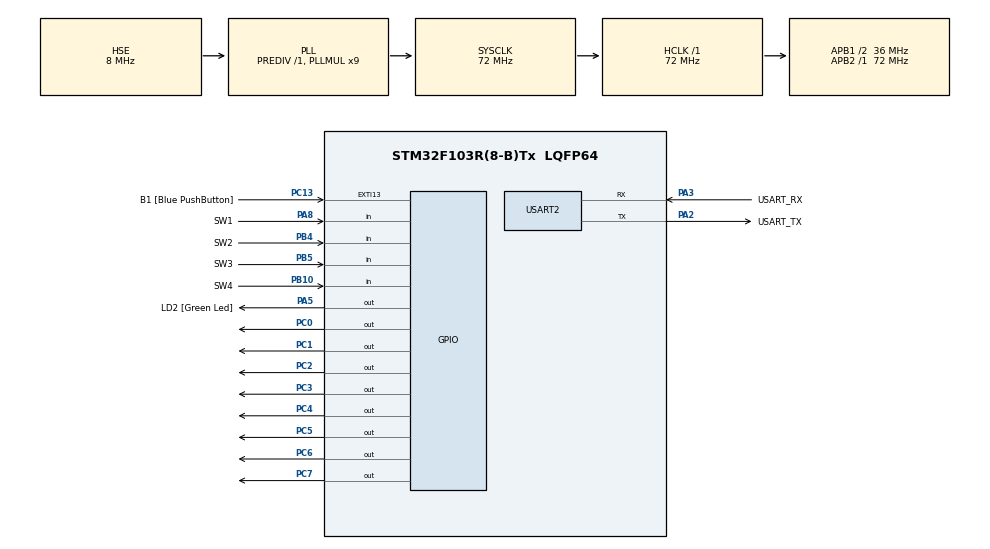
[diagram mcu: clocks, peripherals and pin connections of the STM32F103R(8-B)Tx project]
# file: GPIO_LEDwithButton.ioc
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Mcu.Family=STM32F1
Mcu.Name=STM32F103R(8-B)Tx
Mcu.Package=LQFP64
NVIC.EXTI15_10_IRQn=true\:0\:0\:false\:false\:true\:true\:true\:true
NVIC.PriorityGroup=NVIC_PRIORITYGROUP_4
PA13.GPIO_Label=TMS
PA13.Mode=Serial_Wire
PA13.Signal=SYS_JTMS-SWDIO
PA14.GPIO_Label=TCK
PA14.Mode=Serial_Wire
PA14.Signal=SYS_JTCK-SWCLK
PA2.GPIO_Label=USART_TX
PA2.GPIO_Mode=GPIO_MODE_AF_PP
PA2.GPIO_PuPd=GPIO_NOPULL
PA2.GPIO_Speed=GPIO_SPEED_FREQ_LOW
PA2.Mode=Asynchronous
PA2.Signal=USART2_TX
PA3.GPIO_Label=USART_RX
PA3.GPIO_Mode=GPIO_MODE_AF_PP
PA3.GPIO_PuPd=GPIO_NOPULL
PA3.GPIO_Speed=GPIO_SPEED_FREQ_LOW
PA3.Mode=Asynchronous
PA3.Signal=USART2_RX
PA5.GPIO_Label=LD2 [Green Led]
PA5.GPIO_ModeDefaultOutputPP=GPIO_MODE_OUTPUT_PP
PA5.GPIO_PuPd=GPIO_NOPULL
PA5.GPIO_Speed=GPIO_SPEED_FREQ_LOW
PA5.Signal=GPIO_Output
PA8.GPIO_Label=SW1
PA8.Signal=GPIO_Input
PB10.GPIO_Label=SW4
PB10.Signal=GPIO_Input
PB3.GPIO_Label=SWO
PB3.Signal=SYS_JTDO-TRACESWO
PB4.GPIO_Label=SW2
PB4.Signal=GPIO_Input
PB5.GPIO_Label=SW3
PB5.Signal=GPIO_Input
PC0.Signal=GPIO_Output
PC1.Signal=GPIO_Output
PC13-TAMPER-RTC.GPIO_Label=B1 [Blue PushButton]
PC13-TAMPER-RTC.GPIO_PuPd=GPIO_NOPULL
PC13-TAMPER-RTC.Signal=GPXTI13
PC14-OSC32_IN.Mode=LSE-External-Oscillator
PC14-OSC32_IN.Signal=RCC_OSC32_IN
PC15-OSC32_OUT.Mode=LSE-External-Oscillator
PC15-OSC32_OUT.Signal=RCC_OSC32_OUT
PC2.Signal=GPIO_Output
PC3.Signal=GPIO_Output
PC4.Signal=GPIO_Output
PC5.Signal=GPIO_Output
PC6.Signal=GPIO_Output
PC7.Signal=GPIO_Output
PD0-OSC_IN.Mode=HSE-External-Clock-Source
PD0-OSC_IN.Signal=RCC_OSC_IN
PD1-OSC_OUT.Mode=HSE-External-Clock-Source
PD1-OSC_OUT.Signal=RCC_OSC_OUT
ProjectManager.HeapSize=0x200
ProjectManager.StackSize=0x400
ProjectManager.TargetToolchain=STM32CubeIDE
RCC.AHBFreq_Value=72000000
RCC.APB1CLKDivider=RCC_HCLK_DIV2
RCC.APB1Freq_Value=36000000
RCC.APB1TimFreq_Value=72000000
RCC.APB2Freq_Value=72000000
RCC.APB2TimFreq_Value=72000000
RCC.HCLKFreq_Value=72000000
RCC.PLLMUL=RCC_PLL_MUL9
RCC.PLLSourceVirtual=RCC_PLLSOURCE_HSE
RCC.RTCClockSelection=RCC_RTCCLKSOURCE_LSE
RCC.SYSCLKFreq_VALUE=72000000
RCC.SYSCLKSource=RCC_SYSCLKSOURCE_PLLCLK
RCC.USBFreq_Value=72000000
USART2.VirtualMode=VM_ASYNC
board=NUCLEO-F103RB

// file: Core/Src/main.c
/* USER CODE BEGIN Header */
/**
 ******************************************************************************
 * @file           : main.c
 * @brief          : Main program body
 ******************************************************************************
 * @attention
 *
 * Copyright (c) 2022 STMicroelectronics.
 * All rights reserved.
 *
 * This software is licensed under terms that can be found in the LICENSE file
 * in the root directory of this software component.
 * If no LICENSE file comes with this software, it is provided AS-IS.
 *
 ******************************************************************************
 */
/* USER CODE END Header */
#include "main.h"

UART_HandleTypeDef huart2;

void SystemClock_Config(void);
static void MX_GPIO_Init(void);
static void MX_USART2_UART_Init(void);

int main(void) {

	/* MCU Configuration--------------------------------------------------------*/

	/* Reset of all peripherals, Initializes the Flash interface and the Systick. */
	HAL_Init();

	/* Configure the system clock */
	SystemClock_Config();

	/* Initialize all configured peripherals */
	MX_GPIO_Init();
	MX_USART2_UART_Init();
	/* USER CODE BEGIN 2 */
	HAL_GPIO_WritePin(GPIOC,
			GPIO_PIN_0 | GPIO_PIN_1 | GPIO_PIN_2 | GPIO_PIN_3 | GPIO_PIN_4
					| GPIO_PIN_5 | GPIO_PIN_6 | GPIO_PIN_7, GPIO_PIN_SET);
	HAL_Delay(1000);
	HAL_GPIO_WritePin(GPIOC,
			GPIO_PIN_0 | GPIO_PIN_1 | GPIO_PIN_2 | GPIO_PIN_3 | GPIO_PIN_4
					| GPIO_PIN_5 | GPIO_PIN_6 | GPIO_PIN_7, GPIO_PIN_RESET);
	/* USER CODE END 2 */

	/* Infinite loop */
	/* USER CODE BEGIN WHILE */
	while (1) {
		if (HAL_GPIO_ReadPin(GPIOA, SW1_Pin) == GPIO_PIN_RESET) {
			HAL_GPIO_WritePin(GPIOC, 0x03, GPIO_PIN_SET);
		} else if (HAL_GPIO_ReadPin(GPIOB, SW2_Pin) == GPIO_PIN_RESET) {
			HAL_GPIO_WritePin(GPIOC, 0x0c, GPIO_PIN_SET);
		} else if (HAL_GPIO_ReadPin(GPIOB, SW3_Pin) == GPIO_PIN_RESET) {
			HAL_GPIO_WritePin(GPIOC, 0x30, GPIO_PIN_SET);
		} else if (HAL_GPIO_ReadPin(GPIOB, SW4_Pin) == GPIO_PIN_RESET) {
			HAL_GPIO_WritePin(GPIOC, 0xc0, GPIO_PIN_SET);
		}
		HAL_GPIO_WritePin(GPIOC, GPIO_PIN_All, GPIO_PIN_RESET);
		/* USER CODE END WHILE */

	}
}

void SystemClock_Config(void) {
	RCC_OscInitTypeDef RCC_OscInitStruct = { 0 };
	RCC_ClkInitTypeDef RCC_ClkInitStruct = { 0 };

	/** Initializes the RCC Oscillators according to the specified parameters
	 * in the RCC_OscInitTypeDef structure.
	 */
	RCC_OscInitStruct.OscillatorType = RCC_OSCILLATORTYPE_HSE;
	RCC_OscInitStruct.HSEState = RCC_HSE_BYPASS;
	RCC_OscInitStruct.HSEPredivValue = RCC_HSE_PREDIV_DIV1;
	RCC_OscInitStruct.HSIState = RCC_HSI_ON;
	RCC_OscInitStruct.PLL.PLLState = RCC_PLL_ON;
	RCC_OscInitStruct.PLL.PLLSource = RCC_PLLSOURCE_HSE;
	RCC_OscInitStruct.PLL.PLLMUL = RCC_PLL_MUL9;
	if (HAL_RCC_OscConfig(&RCC_OscInitStruct) != HAL_OK) {
		Error_Handler();
	}

	/** Initializes the CPU, AHB and APB buses clocks
	 */
	RCC_ClkInitStruct.ClockType = RCC_CLOCKTYPE_HCLK | RCC_CLOCKTYPE_SYSCLK
			| RCC_CLOCKTYPE_PCLK1 | RCC_CLOCKTYPE_PCLK2;
	RCC_ClkInitStruct.SYSCLKSource = RCC_SYSCLKSOURCE_PLLCLK;
	RCC_ClkInitStruct.AHBCLKDivider = RCC_SYSCLK_DIV1;
	RCC_ClkInitStruct.APB1CLKDivider = RCC_HCLK_DIV2;
	RCC_ClkInitStruct.APB2CLKDivider = RCC_HCLK_DIV1;

	if (HAL_RCC_ClockConfig(&RCC_ClkInitStruct, FLASH_LATENCY_2) != HAL_OK) {
		Error_Handler();
	}
}

static void MX_USART2_UART_Init(void) {

	huart2.Instance = USART2;
	huart2.Init.BaudRate = 115200;
	huart2.Init.WordLength = UART_WORDLENGTH_8B;
	huart2.Init.StopBits = UART_STOPBITS_1;
	huart2.Init.Parity = UART_PARITY_NONE;
	huart2.Init.Mode = UART_MODE_TX_RX;
	huart2.Init.HwFlowCtl = UART_HWCONTROL_NONE;
	huart2.Init.OverSampling = UART_OVERSAMPLING_16;
	if (HAL_UART_Init(&huart2) != HAL_OK) {
		Error_Handler();
	}

}

static void MX_GPIO_Init(void) {
	GPIO_InitTypeDef GPIO_InitStruct = { 0 };

	/* GPIO Ports Clock Enable */
	__HAL_RCC_GPIOC_CLK_ENABLE();
	__HAL_RCC_GPIOD_CLK_ENABLE();
	__HAL_RCC_GPIOA_CLK_ENABLE();
	__HAL_RCC_GPIOB_CLK_ENABLE();

	/*Configure GPIO pin Output Level */
	HAL_GPIO_WritePin(GPIOC,
			GPIO_PIN_0 | GPIO_PIN_1 | GPIO_PIN_2 | GPIO_PIN_3 | GPIO_PIN_4
					| GPIO_PIN_5 | GPIO_PIN_6 | GPIO_PIN_7, GPIO_PIN_RESET);

	/*Configure GPIO pin Output Level */
	HAL_GPIO_WritePin(LD2_GPIO_Port, LD2_Pin, GPIO_PIN_RESET);

	/*Configure GPIO pin : B1_Pin */
	GPIO_InitStruct.Pin = B1_Pin;
	GPIO_InitStruct.Mode = GPIO_MODE_IT_RISING;
	GPIO_InitStruct.Pull = GPIO_NOPULL;
	HAL_GPIO_Init(B1_GPIO_Port, &GPIO_InitStruct);

	/*Configure GPIO pins : PC0 PC1 PC2 PC3
	 PC4 PC5 PC6 PC7 */
	GPIO_InitStruct.Pin = GPIO_PIN_0 | GPIO_PIN_1 | GPIO_PIN_2 | GPIO_PIN_3
			| GPIO_PIN_4 | GPIO_PIN_5 | GPIO_PIN_6 | GPIO_PIN_7;
	GPIO_InitStruct.Mode = GPIO_MODE_OUTPUT_PP;
	GPIO_InitStruct.Pull = GPIO_NOPULL;
	GPIO_InitStruct.Speed = GPIO_SPEED_FREQ_LOW;
	HAL_GPIO_Init(GPIOC, &GPIO_InitStruct);

	/*Configure GPIO pin : LD2_Pin */
	GPIO_InitStruct.Pin = LD2_Pin;
	GPIO_InitStruct.Mode = GPIO_MODE_OUTPUT_PP;
	GPIO_InitStruct.Pull = GPIO_NOPULL;
	GPIO_InitStruct.Speed = GPIO_SPEED_FREQ_LOW;
	HAL_GPIO_Init(LD2_GPIO_Port, &GPIO_InitStruct);

	/*Configure GPIO pins : SW4_Pin SW2_Pin SW3_Pin */
	GPIO_InitStruct.Pin = SW4_Pin | SW2_Pin | SW3_Pin;
	GPIO_InitStruct.Mode = GPIO_MODE_INPUT;
	GPIO_InitStruct.Pull = GPIO_NOPULL;
	HAL_GPIO_Init(GPIOB, &GPIO_InitStruct);

	/*Configure GPIO pin : SW1_Pin */
	GPIO_InitStruct.Pin = SW1_Pin;
	GPIO_InitStruct.Mode = GPIO_MODE_INPUT;
	GPIO_InitStruct.Pull = GPIO_NOPULL;
	HAL_GPIO_Init(SW1_GPIO_Port, &GPIO_InitStruct);

	/* EXTI interrupt init*/
	HAL_NVIC_SetPriority(EXTI15_10_IRQn, 0, 0);
	HAL_NVIC_EnableIRQ(EXTI15_10_IRQn);

}

void Error_Handler(void) {
	__disable_irq();
	while (1) {
	}
}
